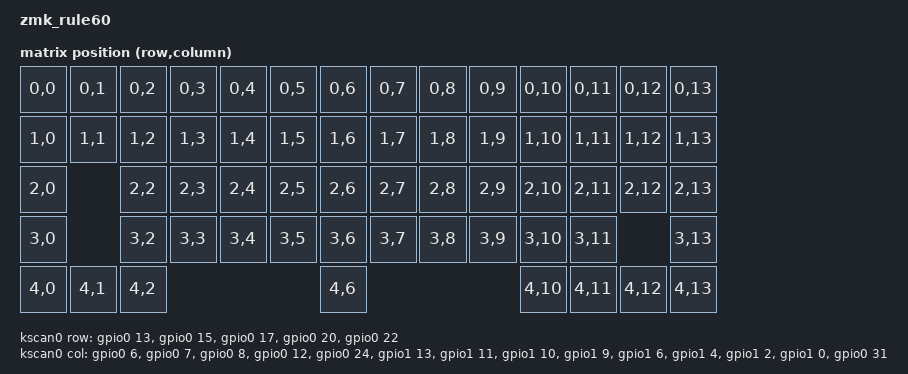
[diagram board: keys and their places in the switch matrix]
/*
 * Copyright (c) 2021 Nick Winans
 *
 * SPDX-License-Identifier: MIT
 */

/dts-v1/;
#include <nordic/nrf52840_qiaa.dtsi>

#include <dt-bindings/led/led.h>
#include <dt-bindings/pwm/pwm.h>
#include <dt-bindings/zmk/matrix_transform.h>
#include "zmk-rule60-pinctrl.dtsi"
#include <layouts/common/60percent/ansi.dtsi>




/ {
    model = "zmk_rule60";
    compatible = "zmk_rule60";

    chosen {
        zephyr,code-partition = &code_partition;
        zephyr,sram = &sram0;
        zephyr,flash = &flash0;
        // zmk,battery = &vbatt;
        zmk,battery = &builtin_fuel_gauge;
        zmk,kscan = &kscan0;
        // zmk,matrix-transform = &default_transform;
        zmk,physical-layout = &layout_60_ansi;
        zmk,underglow = &led_strip;
        zmk,backlight = &backlight;   // ryong60: 키별 흰색 백라이트 (P0.03 PWM → AO3400)
    };

    default_transform: keymap_transform_0 {
        compatible = "zmk,matrix-transform";
        columns = <14>;
        rows = <5>;
        map = <
                RC(0,0) RC(0,1) RC(0,2) RC(0,3) RC(0,4) RC(0,5) RC(0,6) RC(0,7) RC(0,8) RC(0,9) RC(0,10) RC(0,11) RC(0,12) RC(0,13)
                RC(1,0) RC(1,1) RC(1,2) RC(1,3) RC(1,4) RC(1,5) RC(1,6) RC(1,7) RC(1,8) RC(1,9) RC(1,10) RC(1,11) RC(1,12) RC(1,13)
                RC(2,0)         RC(2,2) RC(2,3) RC(2,4) RC(2,5) RC(2,6) RC(2,7) RC(2,8) RC(2,9) RC(2,10) RC(2,11) RC(2,12) RC(2,13)
                RC(3,0)         RC(3,2) RC(3,3) RC(3,4) RC(3,5) RC(3,6) RC(3,7) RC(3,8) RC(3,9) RC(3,10) RC(3,11)          RC(3,13)
                RC(4,0) RC(4,1) RC(4,2)                         RC(4,6)                         RC(4,10) RC(4,11) RC(4,12) RC(4,13)  
        >;
    };

    // ryong60: 전원 끄기(soft off) 뒤에는 Space 키 하나만 칩을 깨움 (ZMK 'Wakeup-only Key Switch' 방식).
    //   ROW4(P0.22)를 켜 둔 채 COL6(P1.11)을 감시 → ROW4×COL6 = Space 만 반응, 다른 키는 무시.
    //   깨어난 뒤에는 ryong60_power.c 가 Fn+Space 를 3초 누르고 있는지 확인하고, 아니면 다시 끔.
    //   (15분 무입력 자동 절전은 이와 별개로 아무 키나 누르면 깨어남)
    wake_keys {
      compatible = "gpio-keys";
      space_wake_key: space_wake_key {
        gpios = <&gpio1 11 (GPIO_ACTIVE_HIGH | GPIO_PULL_DOWN)>;
      };
    };

    space_wakeup: space_wakeup {
      compatible = "zmk,gpio-key-wakeup-trigger";
      trigger = <&space_wake_key>;
      wakeup-source;
      extra-gpios = <&gpio0 22 GPIO_ACTIVE_HIGH>;
    };

    soft_off_wakers {
      compatible = "zmk,soft-off-wakeup-sources";
      wakeup-sources = <&space_wakeup>;
    };

    kscan0: kscan {
        compatible = "zmk,kscan-gpio-matrix";
        wakeup-source;

        diode-direction = "row2col";
        col-gpios
            = <&gpio0  6 (GPIO_ACTIVE_HIGH | GPIO_PULL_DOWN)>
            , <&gpio0  7 (GPIO_ACTIVE_HIGH | GPIO_PULL_DOWN)>
            , <&gpio0  8 (GPIO_ACTIVE_HIGH | GPIO_PULL_DOWN)>
            , <&gpio0 12 (GPIO_ACTIVE_HIGH | GPIO_PULL_DOWN)>
            , <&gpio0 24 (GPIO_ACTIVE_HIGH | GPIO_PULL_DOWN)>
            , <&gpio1 13 (GPIO_ACTIVE_HIGH | GPIO_PULL_DOWN)>
            , <&gpio1 11 (GPIO_ACTIVE_HIGH | GPIO_PULL_DOWN)>
            , <&gpio1 10 (GPIO_ACTIVE_HIGH | GPIO_PULL_DOWN)>
            , <&gpio1  9 (GPIO_ACTIVE_HIGH | GPIO_PULL_DOWN)>
            , <&gpio1  6 (GPIO_ACTIVE_HIGH | GPIO_PULL_DOWN)>
            , <&gpio1  4 (GPIO_ACTIVE_HIGH | GPIO_PULL_DOWN)>
            , <&gpio1  2 (GPIO_ACTIVE_HIGH | GPIO_PULL_DOWN)>
            , <&gpio1  0 (GPIO_ACTIVE_HIGH | GPIO_PULL_DOWN)>
            , <&gpio0 31 (GPIO_ACTIVE_HIGH | GPIO_PULL_DOWN)>
            ;
        row-gpios
            = <&gpio0 13 GPIO_ACTIVE_HIGH>
            , <&gpio0 15 GPIO_ACTIVE_HIGH>
            , <&gpio0 17 GPIO_ACTIVE_HIGH>
            , <&gpio0 20 GPIO_ACTIVE_HIGH>
            , <&gpio0 22 GPIO_ACTIVE_HIGH>
            ;
    };

    leds {
        compatible = "gpio-leds";
        blue_led: led_0 {
            gpios = <&gpio0 4 GPIO_ACTIVE_HIGH>;
        };
    };

    // Node name must match original "EXT_POWER" label to preserve user settings.
    EXT_POWER {
        compatible = "zmk,ext-power-generic";
        control-gpios = <&gpio0 30 GPIO_ACTIVE_HIGH>;
    };

    // ryong60: 키별 백라이트. P0.03 → AO3400 N-MOS (low-side), 61개 흰색 LED
    backlight: pwmleds {
        compatible = "pwm-leds";
        pwm_led_0 {
            pwms = <&pwm0 0 PWM_USEC(125) PWM_POLARITY_NORMAL>;   // 8kHz: 가장 어두운 밝기에서도 잔상 없음, P0.03(저주파 전용 핀) 권장 10kHz 이하
        };
    };

    vbatt: vbatt {
      compatible = "zmk,battery-nrf-vddh";
    };    
};

&layout_60_ansi {
  transform = <&default_transform>;
};

&pwm0 {
    status = "okay";
    pinctrl-0 = <&pwm0_default>;
    pinctrl-1 = <&pwm0_sleep>;
    pinctrl-names = "default", "sleep";
};

&adc {
    status = "okay";
};

&gpiote {
    status = "okay";
};

&gpio0 {
    status = "okay";
};

&gpio1 {
    status = "okay";
};

&spi3 {
    compatible = "nordic,nrf-spim";

    pinctrl-0 = <&spi3_default>;
    pinctrl-1 = <&spi3_sleep>;
    pinctrl-names = "default", "sleep";
    status = "okay";

    led_strip: ws2812@0 {
        compatible = "worldsemi,ws2812-spi";

        /* SPI */
        reg = <0>; /* ignored, but necessary for SPI bindings */
        spi-max-frequency = <4000000>;

        /* WS2812 */
        chain-length = <14>; /* LED strip length */
        spi-one-frame = <0x70>;
        spi-zero-frame = <0x40>;
        color-mapping = <LED_COLOR_ID_GREEN LED_COLOR_ID_RED LED_COLOR_ID_BLUE>;
    };
};

&i2c1 {
  status = "okay";
  compatible = "nordic,nrf-twi";
  pinctrl-0 = <&i2c1_default>;
  pinctrl-1 = <&i2c1_sleep>;
  pinctrl-names = "default", "sleep";

  builtin_fuel_gauge: max17048@36 {
      compatible = "zmk,maxim-max17048";
      status = "okay";
      reg = <0x36>;
  };
};

zephyr_udc0: &usbd {
    status = "okay";
};

&flash0 {
    /*
    * For more information, see:
    * http://docs.zephyrproject.org/latest/devices/dts/flash_partitions.html
    */
    partitions {
        compatible = "fixed-partitions";
        #address-cells = <1>;
        #size-cells = <1>;

        sd_partition: partition@0 {
            reg = <0x00000000 0x00001000>;
        };

        code_partition: partition@1000 {
            reg = <0x00001000 0x000d3000>;
        };

        /*
        * The flash starting at 0x000d4000 and ending at
        * 0x000f3fff is reserved for use by the application.
        */

        /*
        * Storage partition will be used by FCB/LittleFS/NVS
        * if enabled.
        */
        storage_partition: partition@d4000 {
            reg = <0x000d4000 0x00020000>;
        };

        boot_partition: partition@f4000 {
            reg = <0x000f4000 0x0000c000>;
        };
    };
};
 
